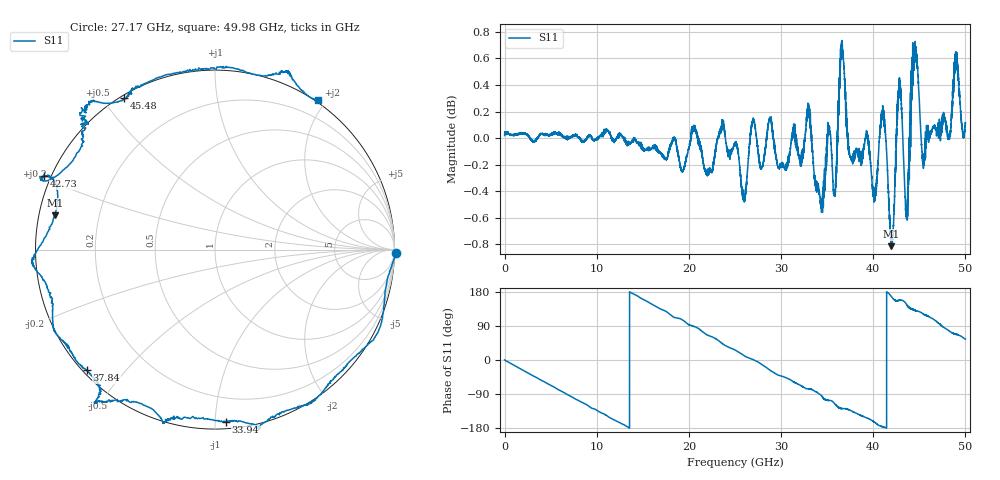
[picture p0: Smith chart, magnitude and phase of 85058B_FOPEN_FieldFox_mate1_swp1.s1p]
!Created with skrf (http://scikit-rf.org).
# Hz S RI R 50.0
!freq ReS11 ImS11
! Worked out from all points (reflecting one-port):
!   10001 points, 300 kHz to 50 GHz, reference 50 ohm
!   lowest |S11| = -0.8 dB at 41.96 GHz (marker M1), VSWR 21.37, Z = 2.37 + j5.31 ohm
!   phase of S11 starts at 0 deg and turns -665 deg over the sweep
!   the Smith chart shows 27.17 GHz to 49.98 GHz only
!   S11 on the Smith chart (normalised r, x): 27.17 GHz: -47, -83; 33.94 GHz: 0.04, -1.06; 37.84 GHz: 0.01, -0.40; 42.73 GHz: -0.02, +0.21; 45.48 GHz: 0.01, +0.57; 49.98 GHz: -0.03, +1.91
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300000  1.002 0.00169
2.620284e9  0.8166 -0.5801
6.250262e9  0.1139 -0.9952
8.935246e9  -0.4775 -0.8788
1.250022e10  -0.9726 -0.2508
1.549021e10  -0.8913 0.4318
1.875019e10  -0.3485 0.9244
2.113517e10  0.1463 0.9832
2.368016e10  0.7462 0.6852
2.500015e10  0.8926 0.4403
2.717014e10  1.01 -0.0184
2.909513e10  0.8583 -0.5263
3.125011e10  0.5573 -0.83
3.28651e10  0.239 -0.9918
3.39401e10  0.0611 -0.9586
3.642008e10  -0.6443 -0.8465
3.750008e10  -0.6683 -0.7218
3.783507e10  -0.7132 -0.6727
4.094505e10  -1.015 -0.0848
4.195505e10  -0.8902 0.1916
4.273004e10  -0.9539 0.4086
4.328004e10  -0.8999 0.3996
4.375004e10  -0.747 0.5845
4.444003e10  -0.7052 0.8008
4.547503e10  -0.5049 0.8427
4.760501e10  0.0572 1.017
4.998e10  0.5754 0.832
5e10  0.5795 0.8304
